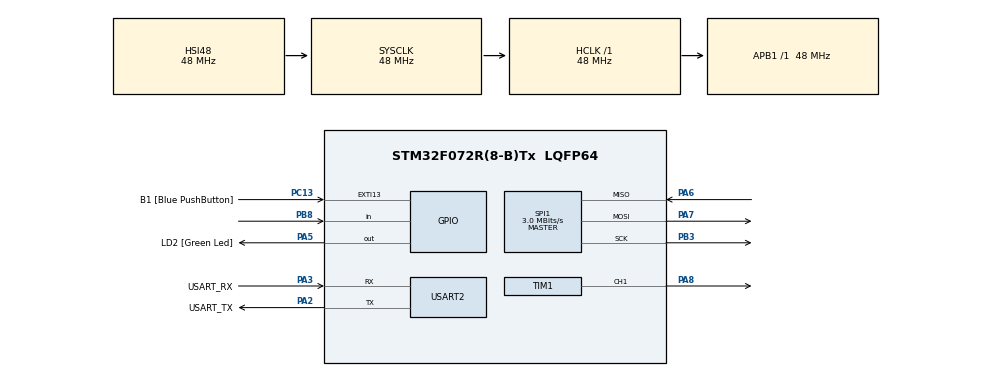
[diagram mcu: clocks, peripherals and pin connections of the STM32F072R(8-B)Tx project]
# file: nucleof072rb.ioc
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Dma.Request0=SPI1_RX
Dma.SPI1_RX.0.Direction=DMA_PERIPH_TO_MEMORY
Dma.SPI1_RX.0.Instance=DMA1_Channel2
Dma.SPI1_RX.0.MemDataAlignment=DMA_MDATAALIGN_HALFWORD
Dma.SPI1_RX.0.MemInc=DMA_MINC_ENABLE
Dma.SPI1_RX.0.Mode=DMA_NORMAL
Dma.SPI1_RX.0.PeriphDataAlignment=DMA_PDATAALIGN_HALFWORD
Dma.SPI1_RX.0.PeriphInc=DMA_PINC_DISABLE
Dma.SPI1_RX.0.Priority=DMA_PRIORITY_LOW
Mcu.Family=STM32F0
Mcu.Name=STM32F072R(8-B)Tx
Mcu.Package=LQFP64
NVIC.DMA1_Channel2_3_IRQn=true\:0\:0\:false\:false\:true\:false\:true\:true
PA13.GPIO_Label=TMS
PA13.Mode=Serial_Wire
PA13.Signal=SYS_SWDIO
PA14.GPIO_Label=TCK
PA14.Mode=Serial_Wire
PA14.Signal=SYS_SWCLK
PA2.GPIO_Label=USART_TX
PA2.GPIO_Mode=GPIO_MODE_AF_PP
PA2.GPIO_PuPd=GPIO_NOPULL
PA2.GPIO_Speed=GPIO_SPEED_FREQ_LOW
PA2.Mode=Asynchronous
PA2.Signal=USART2_TX
PA3.GPIO_Label=USART_RX
PA3.GPIO_Mode=GPIO_MODE_AF_PP
PA3.GPIO_PuPd=GPIO_NOPULL
PA3.GPIO_Speed=GPIO_SPEED_FREQ_LOW
PA3.Mode=Asynchronous
PA3.Signal=USART2_RX
PA5.GPIO_Label=LD2 [Green Led]
PA5.GPIO_Mode=GPIO_MODE_OUTPUT_PP
PA5.GPIO_PuPd=GPIO_NOPULL
PA5.GPIO_Speed=GPIO_SPEED_FREQ_LOW
PA5.Signal=GPIO_Output
PA6.Mode=Full_Duplex_Master
PA6.Signal=SPI1_MISO
PA7.Mode=Full_Duplex_Master
PA7.Signal=SPI1_MOSI
PA8.Signal=S_TIM1_CH1
PB3.Mode=Full_Duplex_Master
PB3.Signal=SPI1_SCK
PB8.Signal=GPIO_Input
PC13.GPIO_Label=B1 [Blue PushButton]
PC13.GPIO_ModeDefaultEXTI=GPIO_MODE_IT_FALLING
PC13.Signal=GPXTI13
PC14-OSC32_IN.Mode=LSE-External-Oscillator
PC14-OSC32_IN.Signal=RCC_OSC32_IN
PC15-OSC32_OUT.Mode=LSE-External-Oscillator
PC15-OSC32_OUT.Signal=RCC_OSC32_OUT
PF0-OSC_IN.Mode=HSE-External-Clock-Source
PF0-OSC_IN.Signal=RCC_OSC_IN
PF1-OSC_OUT.Signal=RCC_OSC_OUT
ProjectManager.HeapSize=0x200
ProjectManager.StackSize=0x400
ProjectManager.TargetToolchain=STM32CubeIDE
RCC.AHBFreq_Value=48000000
RCC.APB1Freq_Value=48000000
RCC.APB1TimFreq_Value=48000000
RCC.FLatency-AdvancedSettings=FLASH_LATENCY_1
RCC.HCLKFreq_Value=48000000
RCC.PLLDivider=RCC_PREDIV_DIV2
RCC.PLLMUL=RCC_PLL_MUL12
RCC.PREFETCH_ENABLE-AdvancedSettings=1
RCC.SYSCLKFreq_VALUE=48000000
RCC.SYSCLKSource=RCC_SYSCLKSOURCE_HSI48
SH.S_TIM1_CH1.0=TIM1_CH1,PWM Generation1 CH1
SPI1.BaudRatePrescaler=SPI_BAUDRATEPRESCALER_16
SPI1.CLKPolarity=SPI_POLARITY_HIGH
SPI1.CalculateBaudRate=3.0 MBits/s
SPI1.DataSize=SPI_DATASIZE_10BIT
SPI1.Direction=SPI_DIRECTION_2LINES
SPI1.FirstBit=SPI_FIRSTBIT_MSB
SPI1.Mode=SPI_MODE_MASTER
SPI1.VirtualType=VM_MASTER
TIM1.AutoReloadPreload=TIM_AUTORELOAD_PRELOAD_ENABLE
TIM1.Channel-PWM\ Generation1\ CH1=TIM_CHANNEL_1
TIM1.Period=64000
TIM1.Prescaler=14
TIM1.Pulse-PWM\ Generation1\ CH1=0
USART2.VirtualMode-Asynchronous=VM_ASYNC
VP_TIM1_VS_ClockSourceINT.Mode=Internal
board=NUCLEO-F072RB

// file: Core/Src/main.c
/* USER CODE BEGIN Header */
/**
  ******************************************************************************
  * @file           : main.c
  * @brief          : Main program body
  ******************************************************************************
  * @attention
  *
  * <h2><center>&copy; Copyright (c) 2021 STMicroelectronics.
  * All rights reserved.</center></h2>
  *
  * This software component is licensed by ST under BSD 3-Clause license,
  * the "License"; You may not use this file except in compliance with the
  * License. You may obtain a copy of the License at:
  *                        opensource.org/licenses/BSD-3-Clause
  *
  ******************************************************************************
  */
/* USER CODE END Header */
#include "main.h"
#include "dma.h"
#include "spi.h"
#include "tim.h"
#include "usart.h"
#include "gpio.h"

/* USER CODE BEGIN PD */
#define USB_BUF_LEN 3
#define SERVO_MIN_MS 3200 // 5% duty
#define SERVO_MAX_MS 6400 // 10% duty
#define ADC_MAX_COUNTS 1023
/* USER CODE END PD */

/* USER CODE BEGIN PV */
extern SPI_HandleTypeDef hspi1;

uint8_t usb_rx_buffer[USB_BUF_LEN];
uint8_t usb_tx_buffer[USB_BUF_LEN];
/* USER CODE END PV */

void SystemClock_Config(void);
/* USER CODE BEGIN PFP */
static uint16_t ADC_Read();
static uint16_t map_adc_to_ms(uint16_t adc_val);
/* USER CODE END PFP */

int main(void)
{

  /* MCU Configuration--------------------------------------------------------*/

  /* Reset of all peripherals, Initializes the Flash interface and the Systick. */
  HAL_Init();

  /* Configure the system clock */
  SystemClock_Config();

  /* Initialize all configured peripherals */
  MX_GPIO_Init();
  MX_DMA_Init();
  MX_USART2_UART_Init();
  MX_SPI1_Init();
  MX_TIM1_Init();

  /* Infinite loop */
  /* USER CODE BEGIN WHILE */
  while (1)
  {
	uint16_t adc_val = ADC_Read();
	uint16_t pulse_ms = map_adc_to_ms(adc_val);
	__HAL_TIM_SET_COMPARE(&htim1, TIM_CHANNEL_1, pulse_ms);
	HAL_Delay(10);

    /* USER CODE END WHILE */

  }
}

void SystemClock_Config(void)
{
  RCC_OscInitTypeDef RCC_OscInitStruct = {0};
  RCC_ClkInitTypeDef RCC_ClkInitStruct = {0};
  RCC_PeriphCLKInitTypeDef PeriphClkInit = {0};

  /** Initializes the RCC Oscillators according to the specified parameters
  * in the RCC_OscInitTypeDef structure.
  */
  RCC_OscInitStruct.OscillatorType = RCC_OSCILLATORTYPE_HSI48;
  RCC_OscInitStruct.HSI48State = RCC_HSI48_ON;
  RCC_OscInitStruct.PLL.PLLState = RCC_PLL_NONE;
  if (HAL_RCC_OscConfig(&RCC_OscInitStruct) != HAL_OK)
  {
    Error_Handler();
  }

  /** Initializes the CPU, AHB and APB buses clocks
  */
  RCC_ClkInitStruct.ClockType = RCC_CLOCKTYPE_HCLK|RCC_CLOCKTYPE_SYSCLK
                              |RCC_CLOCKTYPE_PCLK1;
  RCC_ClkInitStruct.SYSCLKSource = RCC_SYSCLKSOURCE_HSI48;
  RCC_ClkInitStruct.AHBCLKDivider = RCC_SYSCLK_DIV1;
  RCC_ClkInitStruct.APB1CLKDivider = RCC_HCLK_DIV1;

  if (HAL_RCC_ClockConfig(&RCC_ClkInitStruct, FLASH_LATENCY_1) != HAL_OK)
  {
    Error_Handler();
  }
  PeriphClkInit.PeriphClockSelection = RCC_PERIPHCLK_USART2;
  PeriphClkInit.Usart2ClockSelection = RCC_USART2CLKSOURCE_PCLK1;
  if (HAL_RCCEx_PeriphCLKConfig(&PeriphClkInit) != HAL_OK)
  {
    Error_Handler();
  }
}

/* USER CODE BEGIN 4 */
static uint16_t ADC_Read() {
	  usb_tx_buffer[0] = 0x01;
	  usb_tx_buffer[1] = 0x80 | (0 << 4);
	  usb_tx_buffer[2] = 0x00;

	  HAL_GPIO_WritePin(GPIOB, GPIO_PIN_8, GPIO_PIN_RESET);
	  HAL_SPI_TransmitReceive(&hspi1, usb_tx_buffer, usb_rx_buffer, 3, HAL_MAX_DELAY);
	  HAL_GPIO_WritePin(GPIOB, GPIO_PIN_8, GPIO_PIN_SET);

	  uint16_t result = ((usb_rx_buffer[1] & 0x03) << 8) | usb_rx_buffer[2];
	  return result;
}

static uint16_t map_adc_to_ms(uint16_t adc_val) {
	return SERVO_MIN_MS + (adc_val*(SERVO_MAX_MS - SERVO_MIN_MS)) / ADC_MAX_COUNTS;
}
/* USER CODE END 4 */

void Error_Handler(void)
{
  __disable_irq();
  while (1)
  {
  }
}
